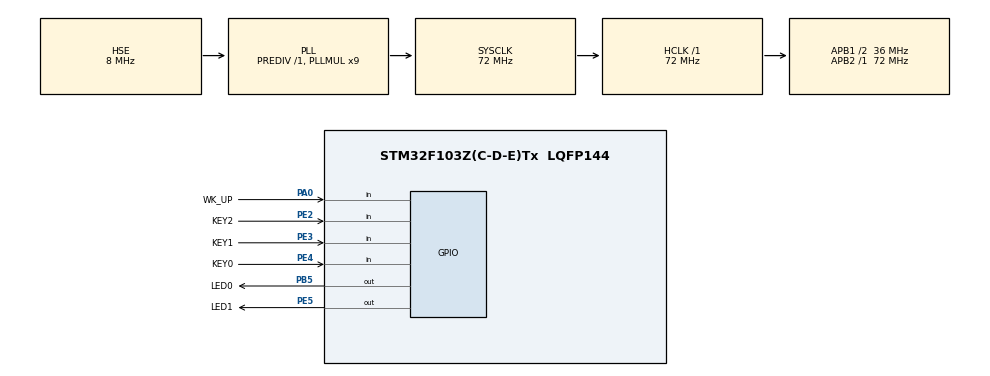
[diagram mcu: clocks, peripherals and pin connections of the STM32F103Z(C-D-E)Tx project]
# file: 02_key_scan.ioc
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Mcu.Family=STM32F1
Mcu.Name=STM32F103Z(C-D-E)Tx
Mcu.Package=LQFP144
NVIC.PriorityGroup=NVIC_PRIORITYGROUP_4
OSC_IN.Mode=HSE-External-Oscillator
OSC_IN.Signal=RCC_OSC_IN
OSC_OUT.Mode=HSE-External-Oscillator
OSC_OUT.Signal=RCC_OSC_OUT
PA0-WKUP.GPIO_Label=WK_UP
PA0-WKUP.Signal=GPIO_Input
PA13.Mode=Serial_Wire
PA13.Signal=SYS_JTMS-SWDIO
PA14.Mode=Serial_Wire
PA14.Signal=SYS_JTCK-SWCLK
PB5.GPIO_Label=LED0
PB5.Signal=GPIO_Output
PE2.GPIO_Label=KEY2
PE2.Signal=GPIO_Input
PE3.GPIO_Label=KEY1
PE3.Signal=GPIO_Input
PE4.GPIO_Label=KEY0
PE4.Signal=GPIO_Input
PE5.GPIO_Label=LED1
PE5.Signal=GPIO_Output
ProjectManager.HeapSize=0x200
ProjectManager.StackSize=0x400
ProjectManager.TargetToolchain=SW4STM32
RCC.AHBFreq_Value=72000000
RCC.APB1CLKDivider=RCC_HCLK_DIV2
RCC.APB1Freq_Value=36000000
RCC.APB1TimFreq_Value=72000000
RCC.APB2Freq_Value=72000000
RCC.APB2TimFreq_Value=72000000
RCC.HCLKFreq_Value=72000000
RCC.PLLMUL=RCC_PLL_MUL9
RCC.PLLSourceVirtual=RCC_PLLSOURCE_HSE
RCC.SYSCLKFreq_VALUE=72000000
RCC.SYSCLKSource=RCC_SYSCLKSOURCE_PLLCLK
RCC.USBFreq_Value=72000000
VP_IWDG_VS_IWDG.Mode=IWDG_Activate
board=custom

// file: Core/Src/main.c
/* USER CODE BEGIN Header */
/**
  ******************************************************************************
  * @file           : main.c
  * @brief          : Main program body
  ******************************************************************************
  * @attention
  *
  * <h2><center>&copy; Copyright (c) 2020 STMicroelectronics.
  * All rights reserved.</center></h2>
  *
  * This software component is licensed by ST under BSD 3-Clause license,
  * the "License"; You may not use this file except in compliance with the
  * License. You may obtain a copy of the License at:
  *                        opensource.org/licenses/BSD-3-Clause
  *
  ******************************************************************************
  */
/* USER CODE END Header */
#include "main.h"
#include "iwdg.h"
#include "gpio.h"

/* USER CODE BEGIN Includes */
#include "key.h"
/* USER CODE END Includes */

void SystemClock_Config(void);

int main(void)
{
  /* USER CODE BEGIN 1 */
  uint8_t key;
  /* USER CODE END 1 */

  /* MCU Configuration--------------------------------------------------------*/

  /* Reset of all peripherals, Initializes the Flash interface and the Systick. */
  HAL_Init();

  /* Configure the system clock */
  SystemClock_Config();

  /* Initialize all configured peripherals */
  MX_GPIO_Init();
  MX_IWDG_Init();
  /* USER CODE BEGIN 2 */
  HAL_GPIO_WritePin(GPIOB, GPIO_PIN_5, 1);
  HAL_GPIO_WritePin(GPIOE, GPIO_PIN_5, 0);
  /* USER CODE END 2 */

  /* Infinite loop */
  while (1)
  {

    /* USER CODE BEGIN 3 */

    key = KEY_Scan(0);
    switch(key)
    {
        case WKUP_PRES:			//控制LED0,LED1互斥点
            IWDG_Feed();
            break;
        case KEY2_PRES:			//控制LED0翻转
            HAL_GPIO_TogglePin(GPIOB, GPIO_PIN_5);
            break;
        case KEY1_PRES:			//控制LED1翻转
            HAL_GPIO_TogglePin(GPIOE, GPIO_PIN_5);
            break;
        case KEY0_PRES:			//同时控制LED0,LED1翻转
            HAL_GPIO_TogglePin(GPIOB, GPIO_PIN_5);
            HAL_GPIO_TogglePin(GPIOE, GPIO_PIN_5);
            break;
    }
    HAL_Delay(10);
  }
  /* USER CODE END 3 */
}

void SystemClock_Config(void)
{
  RCC_OscInitTypeDef RCC_OscInitStruct = {0};
  RCC_ClkInitTypeDef RCC_ClkInitStruct = {0};

  /** Initializes the RCC Oscillators according to the specified parameters
  * in the RCC_OscInitTypeDef structure.
  */
  RCC_OscInitStruct.OscillatorType = RCC_OSCILLATORTYPE_LSI|RCC_OSCILLATORTYPE_HSE;
  RCC_OscInitStruct.HSEState = RCC_HSE_ON;
  RCC_OscInitStruct.HSEPredivValue = RCC_HSE_PREDIV_DIV1;
  RCC_OscInitStruct.HSIState = RCC_HSI_ON;
  RCC_OscInitStruct.LSIState = RCC_LSI_ON;
  RCC_OscInitStruct.PLL.PLLState = RCC_PLL_ON;
  RCC_OscInitStruct.PLL.PLLSource = RCC_PLLSOURCE_HSE;
  RCC_OscInitStruct.PLL.PLLMUL = RCC_PLL_MUL9;
  if (HAL_RCC_OscConfig(&RCC_OscInitStruct) != HAL_OK)
  {
    Error_Handler();
  }
  /** Initializes the CPU, AHB and APB buses clocks
  */
  RCC_ClkInitStruct.ClockType = RCC_CLOCKTYPE_HCLK|RCC_CLOCKTYPE_SYSCLK
                              |RCC_CLOCKTYPE_PCLK1|RCC_CLOCKTYPE_PCLK2;
  RCC_ClkInitStruct.SYSCLKSource = RCC_SYSCLKSOURCE_PLLCLK;
  RCC_ClkInitStruct.AHBCLKDivider = RCC_SYSCLK_DIV1;
  RCC_ClkInitStruct.APB1CLKDivider = RCC_HCLK_DIV2;
  RCC_ClkInitStruct.APB2CLKDivider = RCC_HCLK_DIV1;

  if (HAL_RCC_ClockConfig(&RCC_ClkInitStruct, FLASH_LATENCY_2) != HAL_OK)
  {
    Error_Handler();
  }
}

void Error_Handler(void)
{
}

/************************ (C) COPYRIGHT STMicroelectronics *****END OF FILE****/
